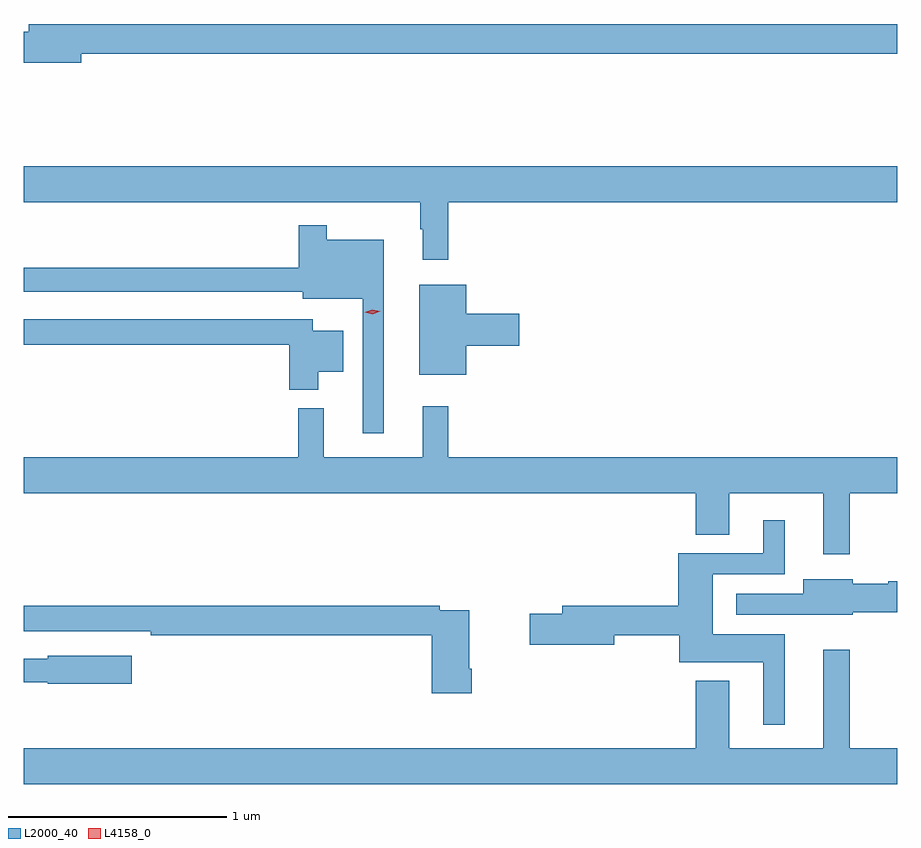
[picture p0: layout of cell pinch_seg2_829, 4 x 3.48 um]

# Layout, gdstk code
import gdstk
lib = gdstk.Library(unit=1e-6, precision=1e-09)
def P(c, l, *ps):  # polygons
    for p in ps: c.add(gdstk.Polygon(p, *l))
L2000_40 = (2000, 40)
L4158_0 = (4158, 0)

pinch_seg2_829 = lib.new_cell('pinch_seg2_829')
P(pinch_seg2_829, L2000_40, [(759.352,605.692),(763.089,605.692),(763.089,605.828),(759.113,605.828),(759.113,605.792),(759.089,605.792),(759.089,605.65),(759.352,605.65)],
  [(761.033,605.012),(763.089,605.012),(763.089,605.176),(759.089,605.176),(759.089,605.012),(760.905,605.012),(760.905,604.889),(760.916,604.889),(760.916,604.749),(761.033,604.749)],
  [(760.738,604.84),(760.477,604.84),(760.477,604.906),(760.348,604.906),(760.348,604.711),(759.089,604.711),(759.089,604.602),(760.367,604.602),(760.367,604.571),(760.641,604.571),(760.641,603.954),(760.738,603.954)],
  [(761.116,604.355),(761.359,604.355),(761.359,604.502),(761.116,604.502),(761.116,604.633),(760.901,604.633),(760.901,604.223),(761.116,604.223)],
  [(760.438,604.235),(760.552,604.235),(760.552,604.423),(760.413,604.423),(760.413,604.476),(759.089,604.476),(759.089,604.36),(760.304,604.36),(760.304,604.154),(760.438,604.154)],
  [(762.871,603.68),(763.089,603.68),(763.089,603.844),(761.033,603.844),(761.033,604.078),(760.916,604.078),(760.916,603.844),(760.463,603.844),(760.463,604.069),(760.345,604.069),(760.345,603.844),(759.089,603.844),(759.089,603.68),(762.167,603.68),(762.167,603.49),(762.319,603.49),(762.319,603.68),(762.749,603.68),(762.749,603.399),(762.871,603.399)],
  [(762.574,603.034),(762.244,603.034),(762.244,603.309),(762.574,603.309),(762.574,603.556),(762.476,603.556),(762.476,603.405),(762.086,603.405),(762.086,603.164),(761.555,603.164),(761.555,603.128),(761.406,603.128),(761.406,602.986),(761.794,602.986),(761.794,603.028),(762.091,603.028),(762.091,602.906),(762.476,602.906),(762.476,602.619),(762.574,602.619)],
  [(762.886,603.134),(763.089,603.134),(763.089,603.276),(763.047,603.276),(763.047,603.265),(762.886,603.265),(762.886,603.286),(762.659,603.286),(762.659,603.219),(762.351,603.219),(762.351,603.123),(762.663,603.123),(762.663,603.122),(762.886,603.122)],
  [(761.141,602.875),(761.128,602.875),(761.128,603.144),(760.994,603.144),(760.994,603.164),(759.089,603.164),(759.089,603.048),(759.67,603.048),(759.67,603.028),(760.958,603.028),(760.958,602.763),(761.141,602.763)],
  [(763.089,602.512),(762.871,602.512),(762.871,602.962),(762.749,602.962),(762.749,602.512),(762.319,602.512),(762.319,602.821),(762.167,602.821),(762.167,602.512),(759.089,602.512),(759.089,602.348),(763.089,602.348)],
  [(759.583,602.935),(759.198,602.935),(759.198,602.922),(759.089,602.922),(759.089,602.814),(759.198,602.814),(759.198,602.806),(759.583,602.806)])
P(pinch_seg2_829, L4158_0, [(760.687,604.5),(760.651,604.508),(760.651,604.508),(760.651,604.509),(760.686,604.52),(760.722,604.512),(760.722,604.512),(760.722,604.512)])

lib.write_gds('pinch_seg2_829.gds')
